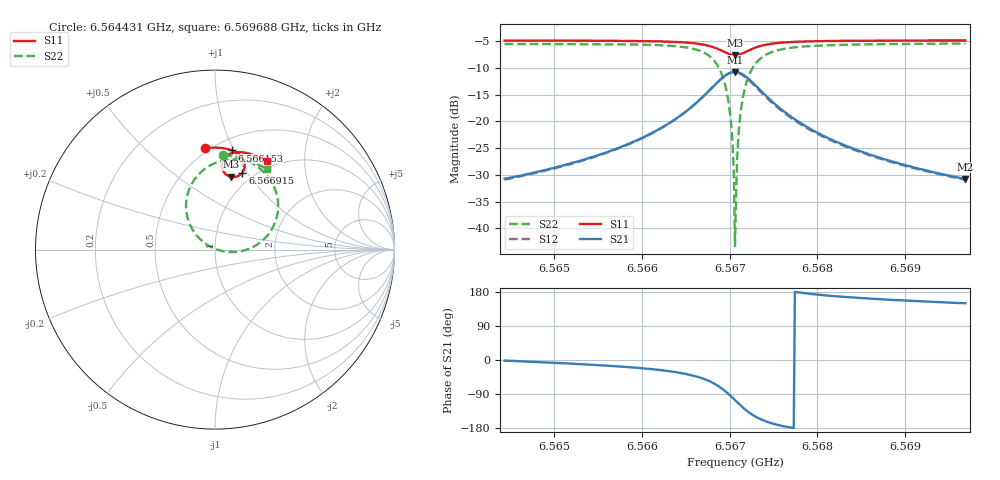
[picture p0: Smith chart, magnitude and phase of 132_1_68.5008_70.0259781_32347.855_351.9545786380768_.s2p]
#  HZ  S  RI  R  50.00
! Rohde & Schwarz Vector Network Analyzer
! Rohde-Schwarz,ZNB20-2Port,1311601062101988,3.16
! Created: UTC 3/20/2024, 4:54:25 PM
! freq[Hz]  re:S11  im:S11  re:S21  im:S21  re:S12  im:S12  re:S22  im:S22
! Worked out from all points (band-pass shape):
!   401 points, 6.564431 GHz to 6.569688 GHz, reference 50 ohm
!   highest |S21| = -10.74 dB at 6.567059 GHz (marker M1); lowest = -30.8 dB at 6.569688 GHz (marker M2)
!   |S21| within 3 dB of the highest: 6.566796 GHz to 6.567322 GHz (525.6 kHz wide, 0.008 % of centre)
!   lowest |S11| = -7.6 dB at 6.567059 GHz (marker M3), VSWR 2.42, Z = 41.5 + j40.7 ohm
!   |S11| at or under -10 dB: nowhere
!   |S22| runs from -43.3 to -5.4 dB; largest |S21 - S12| = 0.014
!   S11 on the Smith chart (normalised r, x): 6.564431 GHz: 0.47, +0.79; 6.566153 GHz: 0.61, +0.98; 6.566915 GHz: 0.88, +0.95; 6.569688 GHz: 0.90, +1.32
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6.564431e9  -0.0566 0.5666  0.0292 -0.000882  0.0286 -0.00125  0.045 0.5265
6.5653115e9  0.0161 0.5677  0.0426 -0.00838  0.0418 -0.00892  0.1303 0.5119
6.5661526e9  0.096 0.5526  0.0734 -0.0345  0.0722 -0.0353  0.2443 0.4563
6.566192e9  0.1003 0.5508  0.0758 -0.0373  0.0746 -0.0382  0.2516 0.4511
6.5667046e9  0.1604 0.4957  0.1117 -0.1324  0.1091 -0.1352  0.3511 0.2655
6.5668229e9  0.165 0.4621  0.1006 -0.1914  0.0957 -0.1951  0.3354 0.153
6.5669149e9  0.1523 0.4293  0.061 -0.2474  0.0521 -0.2505  0.2627 0.0486
6.5669937e9  0.1222 0.4074  -0.00741 -0.2819  -0.0197 -0.2813  0.1362 -0.0103
6.56702e9  0.1089 0.4044  -0.0361 -0.2851  -0.0489 -0.2821  0.0842 -0.0134
6.5670331e9  0.1018 0.4041  -0.0509 -0.2846  -0.0636 -0.2805  0.0581 -0.0109
6.5670463e9  0.0948 0.4043  -0.0656 -0.2826  -0.0784 -0.2775  0.0318 -0.00587
6.5670594e9  0.0878 0.4055  -0.0802 -0.2792  -0.0926 -0.2729  0.00648 0.0021
6.5670857e9  0.0743 0.4102  -0.108 -0.2681  -0.1193 -0.2596  -0.041 0.0255
6.5670988e9  0.0682 0.4136  -0.1207 -0.2605  -0.1313 -0.2512  -0.0624 0.0402
6.567112e9  0.0625 0.4176  -0.1325 -0.2522  -0.1421 -0.242  -0.0817 0.0569
6.5671383e9  0.0528 0.427  -0.1527 -0.2326  -0.1605 -0.2211  -0.1139 0.0944
6.5671908e9  0.0411 0.4492  -0.179 -0.1883  -0.1829 -0.1763  -0.1523 0.1753
6.5672566e9  0.0388 0.4762  -0.1887 -0.1356  -0.189 -0.1247  -0.1602 0.2685
6.5675063e9  0.077 0.5306  -0.1444 -0.0284  -0.1413 -0.0241  -0.0581 0.4488
6.5679399e9  0.1401 0.5433  -0.0827 0.00871  -0.0807 0.01  0.081 0.5011
6.5688205e9  0.2235 0.5237  -0.0401 0.0155  -0.0392 0.0157  0.212 0.4841
6.5696878e9  0.2882 0.493  -0.0251 0.0146  -0.0245 0.0147  0.2899 0.4489
